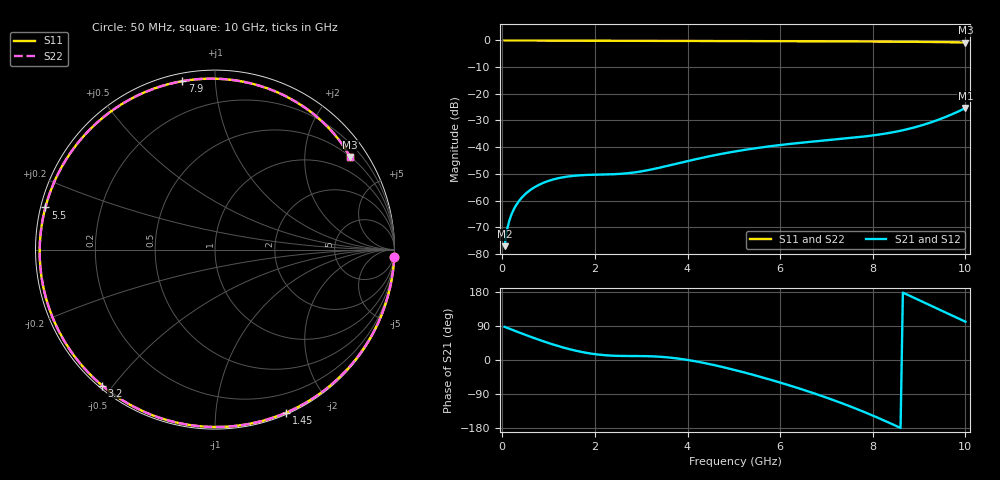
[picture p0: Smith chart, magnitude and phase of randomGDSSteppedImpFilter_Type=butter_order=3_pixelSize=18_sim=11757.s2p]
! freq	dB(S11)	phase(S11)	dB(S12)	phase(S12)
!  dB(S21)	phase(S21)	dB(S22)	phase(S22)
!S-par simulation data
#  GHz  S  DB  R 50
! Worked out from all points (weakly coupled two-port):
!   200 points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, 50 MHz to 10 GHz, reference 50 ohm
!   highest |S21| = -25.36 dB at 10 GHz (marker M1); lowest = -77.1 dB at 50 MHz (marker M2)
!   lowest |S11| = -0.8 dB at 10 GHz (marker M3), VSWR 22.02, Z = 25.4 + j158 ohm
!   |S11| at or under -10 dB: nowhere
!   |S22| runs from -0.8 to 0.0 dB; largest |S21 - S12| = 0
!   S11 on the Smith chart (normalised r, x): 50 MHz: 0, -47; 1.45 GHz: 0.02, -1.53; 3.2 GHz: 0.01, -0.47; 5.5 GHz: 0.01, +0.12; 7.9 GHz: 0.04, +0.82; 10 GHz: 0.51, +3.15
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0.05  -0.00 -2.4  -77.11 87.6  -77.11 87.6  -0.00 -2.4
0.1  -0.01 -4.9  -71.11 85.1  -71.11 85.1  -0.01 -4.9
0.15  -0.01 -7.3  -67.61 82.7  -67.61 82.7  -0.01 -7.3
0.2  -0.01 -9.7  -65.14 80.3  -65.14 80.3  -0.01 -9.7
0.3  -0.02 -14.4  -61.71 75.6  -61.71 75.6  -0.02 -14.4
0.45  -0.03 -21.5  -58.37 68.6  -58.37 68.6  -0.03 -21.5
0.85  -0.05 -40.1  -53.64 50.8  -53.64 50.8  -0.05 -40.1
1.45  -0.08 -66.4  -50.92 28.6  -50.92 28.6  -0.08 -66.4
1.75  -0.09 -78.6  -50.47 20.3  -50.47 20.3  -0.09 -78.6
2.4  -0.11 -103.1  -50.14 11.3  -50.14 11.3  -0.11 -103.1
3.2  -0.14 -129.7  -48.43 9.8  -48.43 9.8  -0.14 -129.7
3.4  -0.14 -135.9  -47.68 8.6  -47.68 8.6  -0.14 -135.9
4.2  -0.17 -159.1  -44.43 -4.1  -44.43 -4.1  -0.17 -159.1
5.05  -0.21 177.9  -41.53 -27.3  -41.53 -27.3  -0.21 177.9
5.5  -0.23 166.0  -40.32 -41.9  -40.32 -41.9  -0.23 166.0
6.1  -0.26 150.3  -39.00 -63.3  -39.00 -63.3  -0.26 150.3
6.7  -0.30 134.4  -37.92 -86.7  -37.92 -86.7  -0.30 134.3
7.35  -0.35 116.6  -36.86 -114.8  -36.86 -114.8  -0.35 116.6
7.9  -0.39 101.0  -35.83 -141.5  -35.83 -141.5  -0.39 101.0
8.35  -0.43 87.7  -34.68 -165.4  -34.68 -165.4  -0.43 87.7
9.15  -0.54 62.9  -31.32 149.3  -31.32 149.3  -0.54 62.8
10  -0.79 34.4  -25.36 101.1  -25.36 101.1  -0.79 34.3
